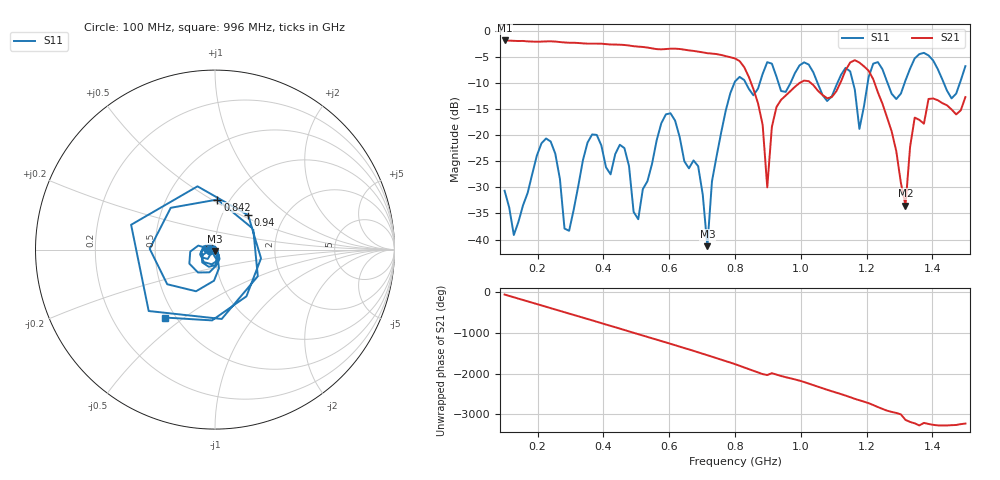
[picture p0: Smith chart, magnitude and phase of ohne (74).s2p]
! NanoVNA-App
! Date: 2025-09-25 14:21:22
! Start: 100MHz Stop: 1,5GHz Points: 101
! S-Parameter data: F S11 S21 S12 S22
# Hz S RI R 50
!  Frequency  S11_Real  S11_Imag  S21_Real  S21_Imag  S12_Real  S12_Imag  S22_Real  S22_Imag
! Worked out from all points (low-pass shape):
!   101 points, 100 MHz to 1.5 GHz, reference 50 ohm
!   highest |S21| = -1.79 dB at 100 MHz (marker M1); lowest = -33.5 dB at 1.318 GHz (marker M2)
!   |S21| within 3 dB of the highest: start of sweep to 771.2 MHz
!   lowest |S11| = -41.3 dB at 716 MHz (marker M3), VSWR 1.02, Z = 49.8 - j0.826 ohm
!   |S11| at or under -10 dB: start of sweep to 797.8 MHz; 833.1 MHz to 875.1 MHz (42.06 MHz wide, 4.92 % of centre); 1.051 GHz to 1.111 GHz (59.68 MHz wide, 5.52 % of centre) (the widest 3 of 7)
!   S12 and S22 are empty: the file has one direction only
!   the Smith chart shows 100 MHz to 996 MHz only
!   S11 on the Smith chart (normalised r, x): 100 MHz: 0.94, -0.01; 842 MHz: 0.88, +0.53; 940 MHz: 1.32, +0.55; 996 MHz: 0.44, -0.43
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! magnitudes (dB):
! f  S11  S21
! 100 MHz  -30.6  -1.8
! 128 MHz  -39.1  -1.9
! 226 MHz  -20.6  -2.0
! 296 MHz  -38.3  -2.2
! 338 MHz  -24.8  -2.4
! 464 MHz  -22.5  -2.7
! 506 MHz  -36.1  -3.0
! 576 MHz  -17.7  -3.5
! 688 MHz  -25.9  -3.9
! 716 MHz  -41.3  -4.2
! 800 MHz  -9.7  -5.2
! 842 MHz  -11.1  -8.8
! 898 MHz  -6.0  -30.0
! 940 MHz  -11.5  -13.2
! 996 MHz  -6.6  -10.0
! 1.038 GHz  -7.9  -10.4
! 1.178 GHz  -18.8  -6.0
! 1.22 GHz  -6.2  -9.2
! 1.276 GHz  -12.0  -19.3
! 1.318 GHz  -9.5  -33.5
! 1.346 GHz  -5.2  -16.6
! 1.5 GHz  -6.7  -12.7
